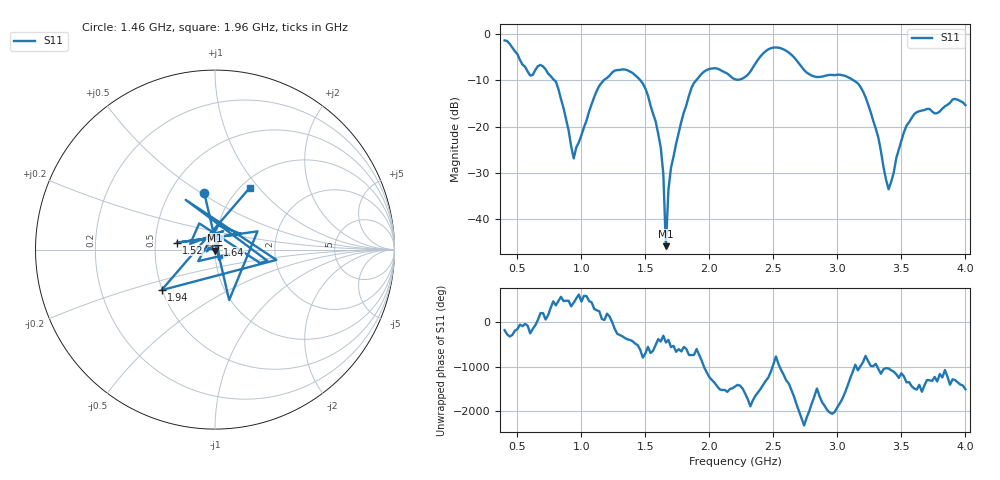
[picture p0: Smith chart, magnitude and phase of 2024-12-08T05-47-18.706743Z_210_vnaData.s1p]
!Created with skrf (http://scikit-rf.org).
# Hz S RI R 50.0
!freq ReS11 ImS11
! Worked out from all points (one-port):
!   181 points, 400 MHz to 4 GHz, reference 50 ohm
!   lowest |S11| = -45.9 dB at 1.66 GHz (marker M1), VSWR 1.01, Z = 50 - j0.505 ohm
!   |S11| at or under -10 dB: 790.3 MHz to 1.174 GHz (384 MHz wide, 39.1 % of centre); 1.461 GHz to 1.896 GHz (434.5 MHz wide, 25.9 % of centre); 3.127 GHz to end of sweep
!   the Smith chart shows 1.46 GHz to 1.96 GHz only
!   S11 on the Smith chart (normalised r, x): 1.46 GHz: 0.74, +0.51; 1.52 GHz: 0.65, +0.05; 1.64 GHz: 1.03, +0.05; 1.94 GHz: 0.50, -0.26; 1.96 GHz: 1.10, +0.90
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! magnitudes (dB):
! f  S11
! 400 MHz  -1.3
! 600 MHz  -8.9
! 720 MHz  -7.6
! 800 MHz  -10.2
! 860 MHz  -16.0
! 940 MHz  -26.9
! 1.14 GHz  -11.2
! 1.3 GHz  -7.7
! 1.46 GHz  -9.9
! 1.52 GHz  -13.3
! 1.6 GHz  -21.6
! 1.64 GHz  -30.3
! 1.66 GHz  -45.9
! 1.68 GHz  -33.7
! 1.76 GHz  -21.3
! 1.86 GHz  -11.6
! 1.94 GHz  -8.5
! 1.96 GHz  -8.1
! 2.2 GHz  -9.8
! 2.48 GHz  -3.0
! 2.66 GHz  -5.0
! 2.8 GHz  -9.0
! 3.1 GHz  -9.5
! 3.24 GHz  -15.2
! 3.4 GHz  -33.6
! 3.56 GHz  -19.1
! 3.9 GHz  -14.1
! 4 GHz  -15.4
